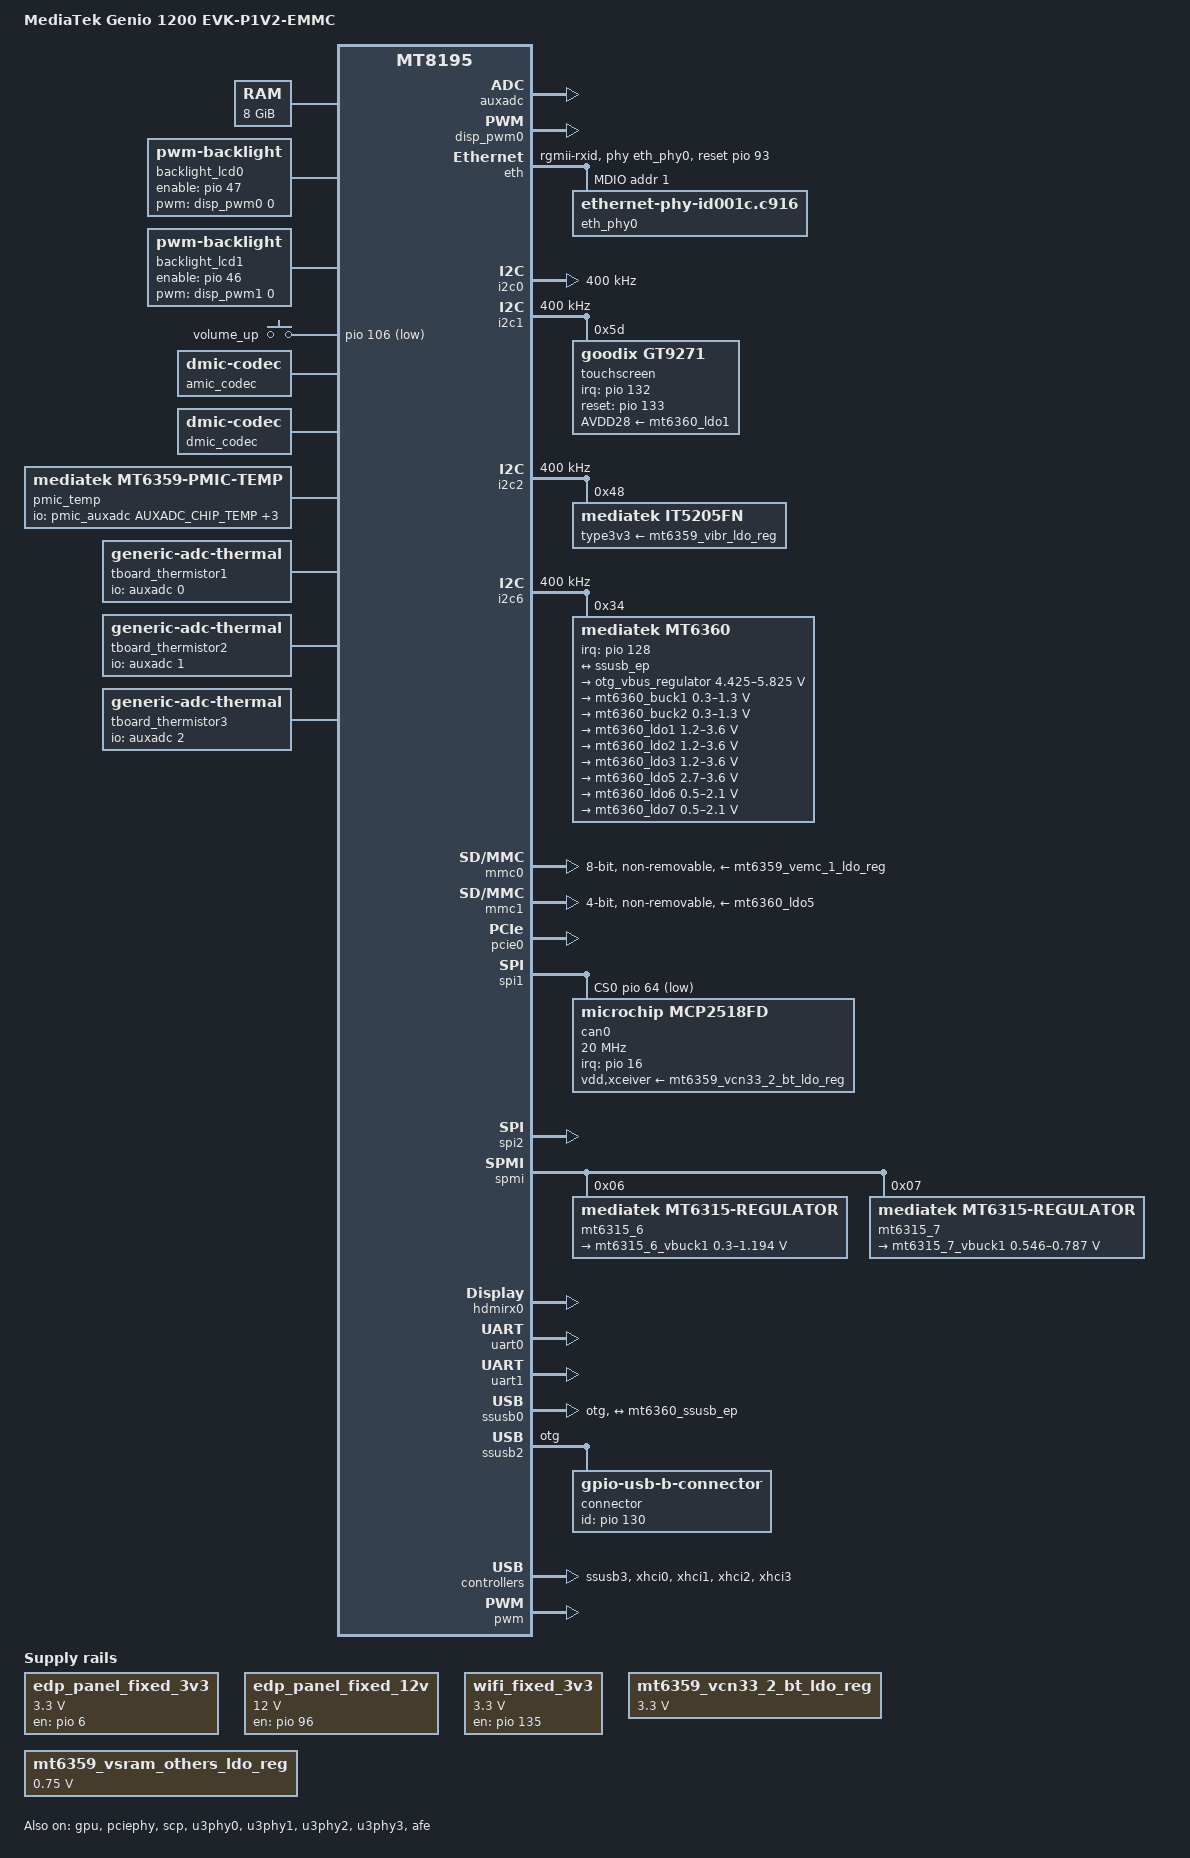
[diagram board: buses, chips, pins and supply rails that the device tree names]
// SPDX-License-Identifier: (GPL-2.0 OR MIT)
/*
 * Copyright (C) 2023 MediaTek Inc.
 * Author: Ben Lok <ben.lok@mediatek.com>
 *	   Macpaul Lin <macpaul.lin@mediatek.com>
 */
/dts-v1/;

#include "mt8195.dtsi"
#include "mt6359.dtsi"
#include <dt-bindings/gpio/gpio.h>
#include <dt-bindings/input/input.h>
#include <dt-bindings/interrupt-controller/irq.h>
#include <dt-bindings/pinctrl/mt8195-pinfunc.h>
#include <dt-bindings/regulator/mediatek,mt6360-regulator.h>
#include <dt-bindings/spmi/spmi.h>
#include <dt-bindings/usb/pd.h>
#include <dt-bindings/iio/mt635x-auxadc.h>

/ {
	model = "MediaTek Genio 1200 EVK-P1V2-EMMC";
	compatible = "mediatek,mt8395-evk", "mediatek,mt8395",
		     "mediatek,mt8195";

	aliases {
		serial0 = &uart0;
		ethernet0 = &eth;
	};

	chosen {
		stdout-path = "serial0:921600n8";
	};

	firmware {
		optee {
			compatible = "linaro,optee-tz";
			method = "smc";
		};
	};

	memory@40000000 {
		device_type = "memory";
		reg = <0 0x40000000 0x2 0x00000000>;
	};

	reserved-memory {
		#address-cells = <2>;
		#size-cells = <2>;
		ranges;

		/*
		 * 12 MiB reserved for OP-TEE (BL32)
		 * +-----------------------+ 0x43e0_0000
		 * |      SHMEM 2MiB       |
		 * +-----------------------+ 0x43c0_0000
		 * |        | TA_RAM  8MiB |
		 * + TZDRAM +--------------+ 0x4340_0000
		 * |        | TEE_RAM 2MiB |
		 * +-----------------------+ 0x4320_0000
		 */
		optee_reserved: optee@43200000 {
			no-map;
			reg = <0 0x43200000 0 0x00c00000>;
		};

		scp_mem: memory@50000000 {
			compatible = "shared-dma-pool";
			reg = <0 0x50000000 0 0x2900000>;
			no-map;
		};

		vpu_mem: memory@53000000 {
			compatible = "shared-dma-pool";
			reg = <0 0x53000000 0 0x1400000>; /* 20 MB */
		};

		/* 2 MiB reserved for ARM Trusted Firmware (BL31) */
		bl31_secmon_reserved: secmon@54600000 {
			no-map;
			reg = <0 0x54600000 0x0 0x200000>;
		};

		/*
		 * 24 MiB reserved for Audio AFE and ADSP
		 * +-----------------------+ 0x6180_0000
		 * |  AFE DMA MEM     8MiB |
		 * +-----------------------+ 0x6100_0000
		 * |  ADSP DMA MEM  2.5MiB |
		 * +-----------------------+ 0x60d8_0000
		 * |  ADSP MEM     13.5MiB |
		 * +-----------------------+ 0x6000_0000
		 */

		adsp_mem_reserved: adsp-mem-region {
			compatible = "shared-dma-pool";
			reg = <0 0x60000000 0 0xd80000>;
			no-map;
		};

		adsp_dma_mem_reserved: adsp-dma-mem-region {
			compatible = "shared-dma-pool";
			reg = <0 0x60d80000 0 0x280000>;
			no-map;
		};

		snd_dma_mem: snd-dma-mem-region {
			compatible = "shared-dma-pool";
			reg = <0 0x61000000 0 0x800000>; /* 8 MB */
			no-map;
		};

		apu_mem: memory@62000000 {
			compatible = "shared-dma-pool";
			reg = <0 0x62000000 0 0x1400000>; /* 20 MB */
		};
	};

	backlight_lcd0: backlight-lcd0 {
		compatible = "pwm-backlight";
		pwms = <&disp_pwm0 0 500000>;
		enable-gpios = <&pio 47 GPIO_ACTIVE_HIGH>;
		brightness-levels = <0 1023>;
		num-interpolated-steps = <1023>;
		default-brightness-level = <576>;
	};

	backlight_lcd1: backlight-lcd1 {
		compatible = "pwm-backlight";
		pwms = <&disp_pwm1 0 500000>;
		enable-gpios = <&pio 46 GPIO_ACTIVE_HIGH>;
		brightness-levels = <0 1023>;
		num-interpolated-steps = <1023>;
		default-brightness-level = <576>;
	};

	can_clk: can-clk {
		compatible = "fixed-clock";
		#clock-cells = <0>;
		clock-frequency = <20000000>;
		clock-output-names = "can-clk";
	};

	edp_panel_fixed_3v3: edp-panel-fixed-3v3 {
		compatible = "regulator-fixed";
		regulator-name = "edp_panel_3v3";
		regulator-min-microvolt = <3300000>;
		regulator-max-microvolt = <3300000>;
		enable-active-high;
		gpio = <&pio 6 GPIO_ACTIVE_HIGH>;
		pinctrl-names = "default";
		pinctrl-0 = <&edp_panel_3v3_en_pins>;
	};

	edp_panel_fixed_12v: edp-panel-fixed-12v {
		compatible = "regulator-fixed";
		regulator-name = "edp_backlight_12v";
		regulator-min-microvolt = <12000000>;
		regulator-max-microvolt = <12000000>;
		enable-active-high;
		gpio = <&pio 96 GPIO_ACTIVE_HIGH>;
		pinctrl-names = "default";
		pinctrl-0 = <&edp_panel_12v_en_pins>;
	};

	keys: gpio-keys {
		compatible = "gpio-keys";

		button-volume-up {
			wakeup-source;
			debounce-interval = <100>;
			gpios = <&pio 106 GPIO_ACTIVE_LOW>;
			label = "volume_up";
			linux,code = <KEY_VOLUMEUP>;
		};
	};

	wifi_fixed_3v3: regulator-2 {
		compatible = "regulator-fixed";
		regulator-name = "wifi_3v3";
		regulator-min-microvolt = <3300000>;
		regulator-max-microvolt = <3300000>;
		gpio = <&pio 135 GPIO_ACTIVE_HIGH>;
		enable-active-high;
		regulator-always-on;
	};

	amic_codec: amic-codec {
		#sound-dai-cells = <0>;
		compatible = "dmic-codec";
		num-channels = <2>;
		wakeup-delay-ms = <200>;
	};

	dmic_codec: dmic-codec {
		#sound-dai-cells = <0>;
		compatible = "dmic-codec";
		num-channels = <2>;
		wakeup-delay-ms = <30>;
	};

	fan0: pwm-fan {
		compatible = "pwm-fan";
		pinctrl-names = "default";
		pinctrl-0 = <&fan0_pins_default>;
		cooling-min-state = <0>;
		cooling-max-state = <2>;
		/* Period 40ns */
		pwms = <&pwm 2 40000>;
		/* Duty Cycle*/
		/* min ---- max */
		/* 20% 50% 100% */
		cooling-levels = <50 127 255>;
		status = "disabled";
	};

	pmic_temp: pmic-temp {
		compatible = "mediatek,mt6359-pmic-temp";
		io-channels =
			<&pmic_auxadc AUXADC_CHIP_TEMP>,
			<&pmic_auxadc AUXADC_VCORE_TEMP>,
			<&pmic_auxadc AUXADC_VPROC_TEMP>,
			<&pmic_auxadc AUXADC_VGPU_TEMP>;
		io-channel-names =
			"pmic_chip_temp",
			"pmic_buck1_temp",
			"pmic_buck2_temp",
			"pmic_buck3_temp";

		#thermal-sensor-cells = <1>;
		nvmem-cells = <&thermal_efuse_data1>;
		nvmem-cell-names = "e_data1";
	};

	tboard_thermistor1: tboard-thermistor1 {
		compatible = "generic-adc-thermal";
		#thermal-sensor-cells = <0>;
		io-channels = <&auxadc 0>;
		io-channel-names = "sensor-channel";
		temperature-lookup-table = <    (-5000) 985
						0 860
						5000 740
						10000 629
						15000 530
						20000 442
						25000 367
						30000 304
						35000 251
						40000 207
						45000 171
						50000 141
						55000 117
						60000 97
						65000 81
						70000 67
						75000 56
						80000 47
						85000 40
						90000 34
						95000 29
						100000 25
						105000 21
						110000 18
						115000 15
						120000 13
						125000 12>;
	};

	tboard_thermistor2: tboard-thermistor2 {
		compatible = "generic-adc-thermal";
		#thermal-sensor-cells = <0>;
		io-channels = <&auxadc 1>;
		io-channel-names = "sensor-channel";
		temperature-lookup-table = <    (-5000) 985
						0 860
						5000 740
						10000 629
						15000 530
						20000 442
						25000 367
						30000 304
						35000 251
						40000 207
						45000 171
						50000 141
						55000 117
						60000 97
						65000 81
						70000 67
						75000 56
						80000 47
						85000 40
						90000 34
						95000 29
						100000 25
						105000 21
						110000 18
						115000 15
						120000 13
						125000 12>;
	};

	tboard_thermistor3: tboard-thermistor3 {
		compatible = "generic-adc-thermal";
		#thermal-sensor-cells = <0>;
		io-channels = <&auxadc 2>;
		io-channel-names = "sensor-channel";
		temperature-lookup-table = <    (-5000) 985
						0 860
						5000 740
						10000 629
						15000 530
						20000 442
						25000 367
						30000 304
						35000 251
						40000 207
						45000 171
						50000 141
						55000 117
						60000 97
						65000 81
						70000 67
						75000 56
						80000 47
						85000 40
						90000 34
						95000 29
						100000 25
						105000 21
						110000 18
						115000 15
						120000 13
						125000 12>;
	};
};

&thermal_zones {
	ap-ntc {
		polling-delay = <1000>; /* milliseconds */
		polling-delay-passive = <0>; /* milliseconds */
		thermal-sensors = <&tboard_thermistor1>;

		trips {
			ap_ntc_crit: ap-ntc-crit {
				temperature = <120000>;
				hysteresis = <2000>;
				type = "critical";
			};
		};
	};

	ap-ntc2 {
		polling-delay = <1000>; /* milliseconds */
		polling-delay-passive = <0>; /* milliseconds */
		thermal-sensors = <&tboard_thermistor2>;

		trips {
			ap_ntc2_crit: ap-ntc2-crit {
				temperature = <120000>;
				hysteresis = <2000>;
				type = "critical";
			};
		};
	};

	ap-ntc3 {
		polling-delay = <1000>; /* milliseconds */
		polling-delay-passive = <0>; /* milliseconds */
		thermal-sensors = <&tboard_thermistor3>;

		trips {
			ap_ntc3_crit: ap-ntc3-crit {
				temperature = <120000>;
				hysteresis = <2000>;
				type = "critical";
			};
		};
	};

	pmic-temp {
		polling-delay = <1000>; /* milliseconds */
		polling-delay-passive = <1000>; /* milliseconds */
		thermal-sensors = <&pmic_temp 0>;
		trips {
			pmic_temp_crit: pmic-temp-crit@0 {
				temperature = <125000>;
				hysteresis = <2000>;
				type = "critical";
			};
		};
	};

	pmic-vcore {
		polling-delay = <0>; /* milliseconds */
		polling-delay-passive = <0>; /* milliseconds */
		thermal-sensors = <&pmic_temp 1>;
		trips {
			pmic_vcore_crit: pmic-vcore-crit {
				temperature = <130000>;
				hysteresis = <2000>;
				type = "critical";
			};
		};
	};

	pmic-vproc {
		polling-delay = <0>; /* milliseconds */
		polling-delay-passive = <0>; /* milliseconds */
		thermal-sensors = <&pmic_temp 2>;
		trips {
			pmic_vproc_crit: pmic-vproc-crit {
				temperature = <130000>;
				hysteresis = <2000>;
				type = "critical";
			};
		};
	};

	pmic-vgpu {
		polling-delay = <0>; /* milliseconds */
		polling-delay-passive = <0>; /* milliseconds */
		thermal-sensors = <&pmic_temp 3>;
		trips {
			pmic_vgpu_crit: pmic-vgpu-crit {
				temperature = <130000>;
				hysteresis = <2000>;
				type = "critical";
			};
		};
	};
};

&auxadc {
	status = "okay";
};

&mipi_tx0 {
	status = "disabled";
};

&dsi0 {
	status = "disabled";
	#address-cells = <1>;
	#size-cells = <0>;
	poweron-in-hs-mode = <0>;
	panel@0 {
		compatible = "startek,kd070fhfid078";
		status = "disabled";
		reg = <0>;
		pinctrl-names = "default";
		pinctrl-0 = <&panel_pins_default>;
		backlight = <&backlight_lcd0>;
		reset-gpios = <&pio 108 GPIO_ACTIVE_HIGH>;
		enable-gpios = <&pio 48 GPIO_ACTIVE_HIGH>;
		iovcc-supply = <&mt6360_ldo2>;
		pp3300-supply = <&mt6360_ldo1>;
		port {
			dsi_panel_in: endpoint {
				remote-endpoint = <&dsi_out>;
			};
		};
	};

	ports {
		port {
			dsi_out: endpoint {
				remote-endpoint = <&dsi_panel_in>;
			};
		};
	};
};

&disp_pwm0 {
	pinctrl-names = "default";
	pinctrl-0 = <&pwm0_default_pins>;
	status = "okay";
};

&eth {
	phy-mode ="rgmii-rxid";
	phy-handle = <&eth_phy0>;
	snps,reset-gpio = <&pio 93 GPIO_ACTIVE_HIGH>;
	snps,reset-delays-us = <0 10000 10000>;
	mediatek,tx-delay-ps = <2030>;
	mediatek,mac-wol;
	pinctrl-names = "default", "sleep";
	pinctrl-0 = <&eth_default_pins>;
	pinctrl-1 = <&eth_sleep_pins>;
	status = "okay";

	mdio {
		compatible = "snps,dwmac-mdio";
		#address-cells = <1>;
		#size-cells = <0>;
		eth_phy0: ethernet-phy@1 {
			compatible = "ethernet-phy-id001c.c916";
			reg = <0x1>;
		};
	};
};

&gpu {
	mali-supply = <&mt6315_7_vbuck1>;
	status = "okay";
};

&i2c0 {
	clock-frequency = <400000>;
	pinctrl-0 = <&i2c0_pins>;
	pinctrl-names = "default";
	status = "okay";
};

&i2c1 {
	clock-frequency = <400000>;
	pinctrl-0 = <&i2c1_pins>;
	pinctrl-names = "default";
	status = "okay";

	touchscreen@5d {
		compatible = "goodix,gt9271";
		reg = <0x5d>;
		interrupt-parent = <&pio>;
		interrupts = <132 IRQ_TYPE_EDGE_RISING>;
		irq-gpios = <&pio 132 GPIO_ACTIVE_HIGH>;
		reset-gpios = <&pio 133 GPIO_ACTIVE_HIGH>;
		AVDD28-supply = <&mt6360_ldo1>;
		pinctrl-names = "default";
		pinctrl-0 = <&touch_pins>;
	};
};

&i2c2 {
	clock-frequency = <400000>;
	pinctrl-0 = <&i2c2_pins>;
	pinctrl-names = "default";
	status = "okay";

	it5205fn: it5205fn@48 {
		compatible = "mediatek,it5205fn";
		reg = <0x48>;
		type3v3-supply = <&mt6359_vibr_ldo_reg>;
		svid = /bits/ 16 <0xff01>;
		status = "okay";
	};
};

&i2c6 {
	clock-frequency = <400000>;
	pinctrl-0 = <&i2c6_pins>;
	pinctrl-names = "default";
	#address-cells = <1>;
	#size-cells = <0>;
	status = "okay";

	mt6360: pmic@34 {
		compatible = "mediatek,mt6360";
		reg = <0x34>;
		interrupt-parent = <&pio>;
		interrupts = <128 IRQ_TYPE_EDGE_FALLING>;
		interrupt-names = "IRQB";
		interrupt-controller;
		#interrupt-cells = <1>;
		pinctrl-0 = <&mt6360_pins>;

		tcpc {
			compatible = "mediatek,mt6360-tcpc";
			interrupts-extended = <&pio 17 IRQ_TYPE_LEVEL_LOW>;
			interrupt-names = "PD_IRQB";
			tcpc-vbus-supply = <&otg_vbus_regulator>;

			connector {
				compatible = "usb-c-connector";
				label = "USB-C";
				data-role = "dual";
				power-role = "dual";
				try-power-role = "sink";
				source-pdos = <PDO_FIXED(5000, 1000, PDO_FIXED_DUAL_ROLE | PDO_FIXED_DATA_SWAP)>;
				sink-pdos = <PDO_FIXED(5000, 2000, PDO_FIXED_DUAL_ROLE | PDO_FIXED_DATA_SWAP)>;
				op-sink-microwatt = <10000000>;
				orientation-switch = <&it5205fn>;
				mode-switch = <&it5205fn>;
				port {};
			};

			ports {
				#address-cells = <1>;
				#size-cells = <0>;

				port@0 {
					reg = <0>;
					mt6360_ssusb_ep: endpoint {
						remote-endpoint = <&ssusb_ep>;
					};
				};

			};
		};

		charger {
			compatible = "mediatek,mt6360-chg";
			richtek,vinovp-microvolt = <14500000>;

			otg_vbus_regulator: usb-otg-vbus-regulator {
				regulator-compatible = "usb-otg-vbus";
				regulator-name = "usb-otg-vbus";
				regulator-min-microvolt = <4425000>;
				regulator-max-microvolt = <5825000>;
			};
		};

		adc {
			compatible = "mediatek,mt6360-adc";
			#io-channel-cells = <1>;
		};

		led {
			compatible = "mediatek,mt6360-led";
		};

		regulator {
			compatible = "mediatek,mt6360-regulator";
			LDO_VIN3-supply = <&mt6360_buck2>;

			mt6360_buck1: buck1 {
				regulator-name = "mt6360,buck1";
				regulator-min-microvolt = <300000>;
				regulator-max-microvolt = <1300000>;
				regulator-allowed-modes = <MT6360_OPMODE_NORMAL
							   MT6360_OPMODE_LP
							   MT6360_OPMODE_ULP>;
				regulator-always-on;
			};

			mt6360_buck2: buck2 {
				regulator-name = "mt6360,buck2";
				regulator-min-microvolt = <300000>;
				regulator-max-microvolt = <1300000>;
				regulator-allowed-modes = <MT6360_OPMODE_NORMAL
							   MT6360_OPMODE_LP
							   MT6360_OPMODE_ULP>;
				regulator-always-on;
			};

			mt6360_ldo1: ldo1 {
				regulator-name = "mt6360,ldo1";
				regulator-min-microvolt = <1200000>;
				regulator-max-microvolt = <3600000>;
				regulator-allowed-modes = <MT6360_OPMODE_NORMAL
							   MT6360_OPMODE_LP>;
				regulator-always-on;
			};

			mt6360_ldo2: ldo2 {
				regulator-name = "mt6360,ldo2";
				regulator-min-microvolt = <1200000>;
				regulator-max-microvolt = <3600000>;
				regulator-allowed-modes = <MT6360_OPMODE_NORMAL
							   MT6360_OPMODE_LP>;
			};

			mt6360_ldo3: ldo3 {
				regulator-name = "mt6360,ldo3";
				regulator-min-microvolt = <1200000>;
				regulator-max-microvolt = <3600000>;
				regulator-allowed-modes = <MT6360_OPMODE_NORMAL
							   MT6360_OPMODE_LP>;
			};

			mt6360_ldo5: ldo5 {
				regulator-name = "mt6360,ldo5";
				regulator-min-microvolt = <2700000>;
				regulator-max-microvolt = <3600000>;
				regulator-allowed-modes = <MT6360_OPMODE_NORMAL
							   MT6360_OPMODE_LP>;
			};

			/* This is a measure point, which name is mt6360_ldo1 on schematic */
			mt6360_ldo6: ldo6 {
				regulator-name = "mt6360,ldo6";
				regulator-min-microvolt = <500000>;
				regulator-max-microvolt = <2100000>;
				regulator-allowed-modes = <MT6360_OPMODE_NORMAL
							   MT6360_OPMODE_LP>;
			};

			mt6360_ldo7: ldo7 {
				regulator-name = "mt6360,ldo7";
				regulator-min-microvolt = <500000>;
				regulator-max-microvolt = <2100000>;
				regulator-allowed-modes = <MT6360_OPMODE_NORMAL
							   MT6360_OPMODE_LP>;
				regulator-always-on;
			};
		};
	};
};

&mfg0 {
	domain-supply = <&mt6315_7_vbuck1>;
};

&mmc0 {
	status = "okay";
	pinctrl-names = "default", "state_uhs";
	pinctrl-0 = <&mmc0_default_pins>;
	pinctrl-1 = <&mmc0_uhs_pins>;
	bus-width = <8>;
	max-frequency = <200000000>;
	cap-mmc-highspeed;
	mmc-hs200-1_8v;
	mmc-hs400-1_8v;
	cap-mmc-hw-reset;
	no-sdio;
	no-sd;
	hs400-ds-delay = <0x14c11>;
	vmmc-supply = <&mt6359_vemc_1_ldo_reg>;
	vqmmc-supply = <&mt6359_vufs_ldo_reg>;
	non-removable;
};

&mmc1 {
	pinctrl-names = "default", "state_uhs";
	pinctrl-0 = <&mmc1_default_pins>;
	pinctrl-1 = <&mmc1_uhs_pins>;
	bus-width = <4>;
	max-frequency = <200000000>;
	cap-sd-highspeed;
	sd-uhs-sdr50;
	sd-uhs-sdr104;
	no-mmc;
	no-sdio;
	vmmc-supply = <&mt6360_ldo5>;
	vqmmc-supply = <&mt6360_ldo3>;
	status = "okay";
	non-removable;
};

&mt6359_vaud18_ldo_reg {
	regulator-always-on;
};

&mt6359_vbbck_ldo_reg {
	regulator-always-on;
};

/* For USB Hub */
&mt6359_vcamio_ldo_reg {
	regulator-always-on;
};

&mt6359_vcn33_2_bt_ldo_reg {
	regulator-min-microvolt = <3300000>;
	regulator-max-microvolt = <3300000>;
};

&mt6359_vcore_buck_reg {
	regulator-always-on;
};

&mt6359_vgpu11_buck_reg {
	regulator-always-on;
};

&mt6359_vpu_buck_reg {
	regulator-always-on;
};

&mt6359_vrf12_ldo_reg {
	regulator-always-on;
};

/* for GPU SRAM */
&mt6359_vsram_others_ldo_reg {
	regulator-always-on;
	regulator-min-microvolt = <750000>;
	regulator-max-microvolt = <750000>;
};

&mt6359codec {
	mediatek,mic-type-0 = <1>; /* ACC */
	mediatek,mic-type-1 = <3>; /* DCC */
	mediatek,mic-type-2 = <1>; /* ACC */
};

&pcie0 {
	pinctrl-names = "default", "idle";
	pinctrl-0 = <&pcie0_default_pins>;
	pinctrl-1 = <&pcie0_idle_pins>;
	status = "okay";
};

&pcie1 {
	pinctrl-names = "default";
	pinctrl-0 = <&pcie1_default_pins>;
	status = "disabled";
};

&pciephy {
	status = "okay";
};

&pio {
	u3_p0_vbus: u3-p0-vbus-default-pins {
		pins-cmd-dat {
			pinmux = <PINMUX_GPIO63__FUNC_VBUSVALID>;
			input-enable;
		};
	};

	u2_default: u2default {
		pin-id {
			pinmux = <PINMUX_GPIO130__FUNC_IDDIG_1P>;
			input-enable;
			bias-pull-up;
		};

		pin-usb-vbus {
			pinmux = <PINMUX_GPIO131__FUNC_USB_DRVVBUS_1P>;
			output-low;
		};
	};

	audio_default_pins: audio-default-pins {
		pins-cmd-dat {
			pinmux = <PINMUX_GPIO61__FUNC_DMIC1_CLK>,
				 <PINMUX_GPIO62__FUNC_DMIC1_DAT>,
				 <PINMUX_GPIO65__FUNC_PCM_DO>,
				 <PINMUX_GPIO66__FUNC_PCM_CLK>,
				 <PINMUX_GPIO67__FUNC_PCM_DI>,
				 <PINMUX_GPIO68__FUNC_PCM_SYNC>,
				 <PINMUX_GPIO69__FUNC_AUD_CLK_MOSI>,
				 <PINMUX_GPIO70__FUNC_AUD_SYNC_MOSI>,
				 <PINMUX_GPIO71__FUNC_AUD_DAT_MOSI0>,
				 <PINMUX_GPIO72__FUNC_AUD_DAT_MOSI1>,
				 <PINMUX_GPIO73__FUNC_AUD_DAT_MISO0>,
				 <PINMUX_GPIO74__FUNC_AUD_DAT_MISO1>,
				 <PINMUX_GPIO75__FUNC_AUD_DAT_MISO2>;
		};
	};

	disp_pwm1_default_pins: disp-pwm1-default-pins {
		pins1 {
			pinmux = <PINMUX_GPIO104__FUNC_DISP_PWM1>;
		};
	};

	edp_panel_12v_en_pins: edp-panel-12v-en-pins {
		pins1 {
			pinmux = <PINMUX_GPIO96__FUNC_GPIO96>;
			output-high;
		};
	};

	edp_panel_3v3_en_pins: edp-panel-3v3-en-pins {
		pins1 {
			pinmux = <PINMUX_GPIO6__FUNC_GPIO6>;
			output-high;
		};
	};

	eth_default_pins: eth-default-pins {
		pins-cc {
			pinmux = <PINMUX_GPIO85__FUNC_GBE_TXC>,
				 <PINMUX_GPIO86__FUNC_GBE_RXC>,
				 <PINMUX_GPIO87__FUNC_GBE_RXDV>,
				 <PINMUX_GPIO88__FUNC_GBE_TXEN>;
			drive-strength = <MTK_DRIVE_8mA>;
		};

		pins-mdio {
			pinmux = <PINMUX_GPIO89__FUNC_GBE_MDC>,
				 <PINMUX_GPIO90__FUNC_GBE_MDIO>;
			input-enable;
		};

		pins-power {
			pinmux = <PINMUX_GPIO91__FUNC_GPIO91>,
				 <PINMUX_GPIO92__FUNC_GPIO92>;
			output-high;
		};

		pins-rxd {
			pinmux = <PINMUX_GPIO81__FUNC_GBE_RXD3>,
				 <PINMUX_GPIO82__FUNC_GBE_RXD2>,
				 <PINMUX_GPIO83__FUNC_GBE_RXD1>,
				 <PINMUX_GPIO84__FUNC_GBE_RXD0>;
		};

		pins-txd {
			pinmux = <PINMUX_GPIO77__FUNC_GBE_TXD3>,
				 <PINMUX_GPIO78__FUNC_GBE_TXD2>,
				 <PINMUX_GPIO79__FUNC_GBE_TXD1>,
				 <PINMUX_GPIO80__FUNC_GBE_TXD0>;
			drive-strength = <MTK_DRIVE_8mA>;
		};
	};

	eth_sleep_pins: eth-sleep-pins {
		pins-cc {
			pinmux = <PINMUX_GPIO85__FUNC_GPIO85>,
				 <PINMUX_GPIO86__FUNC_GPIO86>,
				 <PINMUX_GPIO87__FUNC_GPIO87>,
				 <PINMUX_GPIO88__FUNC_GPIO88>;
		};

		pins-mdio {
			pinmux = <PINMUX_GPIO89__FUNC_GPIO89>,
				 <PINMUX_GPIO90__FUNC_GPIO90>;
			input-disable;
			bias-disable;
		};

		pins-rxd {
			pinmux = <PINMUX_GPIO81__FUNC_GPIO81>,
				 <PINMUX_GPIO82__FUNC_GPIO82>,
				 <PINMUX_GPIO83__FUNC_GPIO83>,
				 <PINMUX_GPIO84__FUNC_GPIO84>;
		};

		pins-txd {
			pinmux = <PINMUX_GPIO77__FUNC_GPIO77>,
				 <PINMUX_GPIO78__FUNC_GPIO78>,
				 <PINMUX_GPIO79__FUNC_GPIO79>,
				 <PINMUX_GPIO80__FUNC_GPIO80>;
		};
	};

	gpio_key_pins: gpio-keys-pins {
		pins {
			pinmux = <PINMUX_GPIO106__FUNC_GPIO106>;
			bias-pull-up;
			input-enable;
		};
	};

	i2c0_pins: i2c0-pins {
		pins {
			pinmux = <PINMUX_GPIO8__FUNC_SDA0>,
				 <PINMUX_GPIO9__FUNC_SCL0>;
			bias-pull-up = <MTK_PULL_SET_RSEL_111>;
			drive-strength-microamp = <1000>;
		};
	};

	i2c1_pins: i2c1-pins {
		pins {
			pinmux = <PINMUX_GPIO10__FUNC_SDA1>,
				 <PINMUX_GPIO11__FUNC_SCL1>;
			bias-pull-up = <MTK_PULL_SET_RSEL_111>;
			drive-strength-microamp = <1000>;
		};
	};

	i2c2_pins: i2c2-pins {
		pins {
			pinmux = <PINMUX_GPIO12__FUNC_SDA2>,
				 <PINMUX_GPIO13__FUNC_SCL2>;
			bias-pull-up = <MTK_PULL_SET_RSEL_111>;
			mediatek,drive-strength-adv = <0>;
			drive-strength = <MTK_DRIVE_6mA>;
		};
	};

	i2c6_pins: i2c6-pins {
		pins {
			pinmux = <PINMUX_GPIO25__FUNC_SDA6>,
				 <PINMUX_GPIO26__FUNC_SCL6>;
			bias-pull-up;
		};
	};

	mmc0_default_pins: mmc0-default-pins {
		pins-clk {
			pinmux = <PINMUX_GPIO122__FUNC_MSDC0_CLK>;
			drive-strength = <MTK_DRIVE_6mA>;
			bias-pull-down = <MTK_PUPD_SET_R1R0_10>;
		};

		pins-cmd-dat {
			pinmux = <PINMUX_GPIO126__FUNC_MSDC0_DAT0>,
				 <PINMUX_GPIO125__FUNC_MSDC0_DAT1>,
				 <PINMUX_GPIO124__FUNC_MSDC0_DAT2>,
				 <PINMUX_GPIO123__FUNC_MSDC0_DAT3>,
				 <PINMUX_GPIO119__FUNC_MSDC0_DAT4>,
				 <PINMUX_GPIO118__FUNC_MSDC0_DAT5>,
				 <PINMUX_GPIO117__FUNC_MSDC0_DAT6>,
				 <PINMUX_GPIO116__FUNC_MSDC0_DAT7>,
				 <PINMUX_GPIO121__FUNC_MSDC0_CMD>;
			input-enable;
			drive-strength = <MTK_DRIVE_6mA>;
			bias-pull-up = <MTK_PUPD_SET_R1R0_01>;
		};

		pins-rst {
			pinmux = <PINMUX_GPIO120__FUNC_MSDC0_RSTB>;
			drive-strength = <MTK_DRIVE_6mA>;
			bias-pull-up = <MTK_PUPD_SET_R1R0_01>;
		};
	};

	mmc0_uhs_pins: mmc0-uhs-pins {
		pins-clk {
			pinmux = <PINMUX_GPIO122__FUNC_MSDC0_CLK>;
			drive-strength = <MTK_DRIVE_8mA>;
			bias-pull-down = <MTK_PUPD_SET_R1R0_10>;
		};

		pins-cmd-dat {
			pinmux = <PINMUX_GPIO126__FUNC_MSDC0_DAT0>,
				 <PINMUX_GPIO125__FUNC_MSDC0_DAT1>,
				 <PINMUX_GPIO124__FUNC_MSDC0_DAT2>,
				 <PINMUX_GPIO123__FUNC_MSDC0_DAT3>,
				 <PINMUX_GPIO119__FUNC_MSDC0_DAT4>,
				 <PINMUX_GPIO118__FUNC_MSDC0_DAT5>,
				 <PINMUX_GPIO117__FUNC_MSDC0_DAT6>,
				 <PINMUX_GPIO116__FUNC_MSDC0_DAT7>,
				 <PINMUX_GPIO121__FUNC_MSDC0_CMD>;
			input-enable;
			drive-strength = <MTK_DRIVE_8mA>;
			bias-pull-up = <MTK_PUPD_SET_R1R0_01>;
		};

		pins-ds {
			pinmux = <PINMUX_GPIO127__FUNC_MSDC0_DSL>;
			drive-strength = <MTK_DRIVE_8mA>;
			bias-pull-down = <MTK_PUPD_SET_R1R0_10>;
		};

		pins-rst {
			pinmux = <PINMUX_GPIO120__FUNC_MSDC0_RSTB>;
			drive-strength = <MTK_DRIVE_8mA>;
			bias-pull-up = <MTK_PUPD_SET_R1R0_01>;
		};
	};

	mmc1_default_pins: mmc1-default-pins {
		pins-clk {
			pinmux = <PINMUX_GPIO111__FUNC_MSDC1_CLK>;
			drive-strength = <MTK_DRIVE_8mA>;
			bias-pull-down = <MTK_PUPD_SET_R1R0_10>;
		};

		pins-cmd-dat {
			pinmux = <PINMUX_GPIO110__FUNC_MSDC1_CMD>,
				 <PINMUX_GPIO112__FUNC_MSDC1_DAT0>,
				 <PINMUX_GPIO113__FUNC_MSDC1_DAT1>,
				 <PINMUX_GPIO114__FUNC_MSDC1_DAT2>,
				 <PINMUX_GPIO115__FUNC_MSDC1_DAT3>;
			input-enable;
			drive-strength = <MTK_DRIVE_8mA>;
			bias-pull-up = <MTK_PUPD_SET_R1R0_01>;
		};
	};

	mmc1_uhs_pins: mmc1-uhs-pins {
		pins-clk {
			pinmux = <PINMUX_GPIO111__FUNC_MSDC1_CLK>;
			drive-strength = <MTK_DRIVE_8mA>;
			bias-pull-down = <MTK_PUPD_SET_R1R0_10>;
		};

		pins-cmd-dat {
			pinmux = <PINMUX_GPIO110__FUNC_MSDC1_CMD>,
				 <PINMUX_GPIO112__FUNC_MSDC1_DAT0>,
				 <PINMUX_GPIO113__FUNC_MSDC1_DAT1>,
				 <PINMUX_GPIO114__FUNC_MSDC1_DAT2>,
				 <PINMUX_GPIO115__FUNC_MSDC1_DAT3>;
			input-enable;
			drive-strength = <MTK_DRIVE_8mA>;
			bias-pull-up = <MTK_PUPD_SET_R1R0_01>;
		};
	};

	mt6360_pins: mt6360-pins {
		pins {
			pinmux = <PINMUX_GPIO17__FUNC_GPIO17>,
				 <PINMUX_GPIO128__FUNC_GPIO128>;
			input-enable;
			bias-pull-up;
		};
	};

	pcie0_default_pins: pcie0-default-pins {
		pins {
			pinmux = <PINMUX_GPIO19__FUNC_WAKEN>,
				 <PINMUX_GPIO20__FUNC_PERSTN>,
				 <PINMUX_GPIO21__FUNC_CLKREQN>;
			bias-pull-up;
		};
	};

	pcie0_idle_pins: pcie0-idle-pins {
		pins {
			pinmux = <PINMUX_GPIO20__FUNC_GPIO20>;
			bias-disable;
			output-low;
		};
	};

	pcie1_default_pins: pcie1-default-pins {
		pins {
			pinmux = <PINMUX_GPIO22__FUNC_PERSTN_1>,
				 <PINMUX_GPIO23__FUNC_CLKREQN_1>,
				 <PINMUX_GPIO24__FUNC_WAKEN_1>;
			bias-pull-up;
		};
	};

	panel_pins_default: panel-pins-default {
		panel-dcdc {
			pinmux = <PINMUX_GPIO48__FUNC_GPIO48>;
			output-low;
		};

		panel-en {
			pinmux = <PINMUX_GPIO47__FUNC_GPIO47>;
			output-low;
		};

		panel-rst {
			pinmux = <PINMUX_GPIO108__FUNC_GPIO108>;
			output-high;
		};
	};

	pwm0_default_pins: pwm0-default-pins {
		pins-cmd-dat {
			pinmux = <PINMUX_GPIO97__FUNC_DISP_PWM0>;
		};
	};

	spi1_pins: spi1-pins {
		pins {
			pinmux = <PINMUX_GPIO136__FUNC_SPIM1_CSB>,
				 <PINMUX_GPIO137__FUNC_SPIM1_CLK>,
				 <PINMUX_GPIO138__FUNC_SPIM1_MO>,
				 <PINMUX_GPIO139__FUNC_SPIM1_MI>;
			bias-disable;
		};
	};

	spi2_pins: spi-pins {
		pins {
			pinmux = <PINMUX_GPIO140__FUNC_SPIM2_CSB>,
				 <PINMUX_GPIO141__FUNC_SPIM2_CLK>,
				 <PINMUX_GPIO142__FUNC_SPIM2_MO>,
				 <PINMUX_GPIO143__FUNC_SPIM2_MI>;
			bias-disable;
		};
	};

	hdmi0_pins_default: hdmi0default {
		hdmirxhpd {
			pinmux = <PINMUX_GPIO27__FUNC_HDMIRX20_HTPLG>;
		};
		hdmirx5v {
			pinmux = <PINMUX_GPIO28__FUNC_HDMIRX20_PWR5V>;
			bias-disable;
		};
		hdmirxscl {
			pinmux = <PINMUX_GPIO29__FUNC_HDMIRX20_SCL>;
		};
		hdmirxsda {
			pinmux = <PINMUX_GPIO30__FUNC_HDMIRX20_SDA>;
			drive-strength = <MTK_DRIVE_10mA>;
		};
	};

	pwm_pins: pwm-pins {
		pins {
			pinmux = <PINMUX_GPIO105__FUNC_PWM_2>;
		};
	};

	fan0_pins_default: fan0-pins-default {
		pins-cmd-dat {
			pinmux = <PINMUX_GPIO129__FUNC_GPIO129>;
			output-high;
		};
	};

	touch_pins: touch-pins {
		pins-irq {
			pinmux = <PINMUX_GPIO132__FUNC_GPIO132>;
			input-enable;
			bias-disable;
		};

		pins-reset {
			pinmux = <PINMUX_GPIO133__FUNC_GPIO133>;
			output-high;
		};
	};

	uart0_pins: uart0-pins {
		pins {
			pinmux = <PINMUX_GPIO98__FUNC_UTXD0>,
				 <PINMUX_GPIO99__FUNC_URXD0>;
		};
	};

	uart1_pins: uart1-pins {
		pins {
			pinmux = <PINMUX_GPIO100__FUNC_URTS1>,
				 <PINMUX_GPIO101__FUNC_UCTS1>,
				 <PINMUX_GPIO102__FUNC_UTXD1>,
				 <PINMUX_GPIO103__FUNC_URXD1>;
		};
	};
};

&ufshci {
	status = "disabled";
	vcc-supply = <&mt6359_vemc_1_ldo_reg>;
	vccq2-supply = <&mt6359_vufs_ldo_reg>;
};

&ufsphy {
	status = "disabled";
};

&pmic {
	interrupt-parent = <&pio>;
	interrupts = <222 IRQ_TYPE_LEVEL_HIGH>;
};

&scp {
	memory-region = <&scp_mem>;
	status = "okay";
	firmware-name = "mediatek/mt8195/scp.img";
};

&spi1 {
	pinctrl-0 = <&spi1_pins>;
	pinctrl-names = "default";
	mediatek,pad-select = <0>;
	#address-cells = <1>;
	#size-cells = <0>;
	status = "okay";
	cs-gpios = <&pio 64 GPIO_ACTIVE_LOW>;

	can0: can@0 {
		compatible = "microchip,mcp2518fd";
		reg = <0>;
		clocks = <&can_clk>;
		spi-max-frequency = <20000000>;
		interrupts-extended = <&pio 16 IRQ_TYPE_LEVEL_LOW>;
		vdd-supply = <&mt6359_vcn33_2_bt_ldo_reg>;
		xceiver-supply = <&mt6359_vcn33_2_bt_ldo_reg>;
	};
};

&spi2 {
	pinctrl-0 = <&spi2_pins>;
	pinctrl-names = "default";
	mediatek,pad-select = <0>;
	#address-cells = <1>;
	#size-cells = <0>;
	status = "okay";
};

&spmi {
	#address-cells = <2>;
	#size-cells = <0>;

	mt6315_6: pmic@6 {
		compatible = "mediatek,mt6315-regulator";
		reg = <0x6 SPMI_USID>;

		regulators {
			mt6315_6_vbuck1: vbuck1 {
				regulator-compatible = "vbuck1";
				regulator-name = "Vbcpu";
				regulator-min-microvolt = <300000>;
				regulator-max-microvolt = <1193750>;
				regulator-enable-ramp-delay = <256>;
				regulator-allowed-modes = <0 1 2>;
				regulator-always-on;
			};
		};
	};

	mt6315_7: pmic@7 {
		compatible = "mediatek,mt6315-regulator";
		reg = <0x7 SPMI_USID>;

		regulators {
			mt6315_7_vbuck1: vbuck1 {
				regulator-compatible = "vbuck1";
				regulator-name = "Vgpu";
				regulator-min-microvolt = <546000>;
				regulator-max-microvolt = <787000>;
				regulator-enable-ramp-delay = <256>;
				regulator-allowed-modes = <0 1 2>;
			};
		};
	};
};

&u3phy0 {
	status = "okay";
};

&u3phy1 {
	status = "okay";
};

&u3phy2 {
	status = "okay";
};

&u3phy3 {
	status = "okay";
};

&hdmirx0 {
	pinctrl-names = "default";
	pinctrl-0 = <&hdmi0_pins_default>;
	hdmi33v-supply = <&mt6359_vcn33_1_wifi_ldo_reg>;
	hdmi08v-supply = <&mt6359_va09_ldo_reg>;
	status = "okay";
};

&uart0 {
	pinctrl-0 = <&uart0_pins>;
	pinctrl-names = "default";
	status = "okay";
};

&uart1 {
	pinctrl-0 = <&uart1_pins>;
	pinctrl-names = "default";
	status = "okay";
};

&ssusb0 {
	pinctrl-names = "default";
	pinctrl-0 = <&u3_p0_vbus>;
	vusb33-supply = <&mt6359_vusb_ldo_reg>;
	dr_mode = "otg";
	mediatek,usb3-drd;
	usb-role-switch;
	/delete-property/ wakeup-source;
	status = "okay";

	port {
		ssusb_ep: endpoint {
			remote-endpoint = <&mt6360_ssusb_ep>;
		};
	};

};

&ssusb2 {
	pinctrl-names = "default";
	pinctrl-0 = <&u2_default>;
	maximum-speed = "high-speed";
	vusb33-supply = <&mt6359_vusb_ldo_reg>;
	mediatek,force-vbus;
	usb-role-switch;
	dr_mode = "otg"; /* host, peripheral, otg */
	/delete-property/ wakeup-source;
	status = "okay";

	connector {
		compatible = "gpio-usb-b-connector", "usb-b-connector";
		type = "micro";
		id-gpios = <&pio 130 GPIO_ACTIVE_HIGH>;
	};
};

&ssusb3 {
	vusb33-supply = <&mt6359_vusb_ldo_reg>;
	status = "okay";
};

&watchdog {
	/delete-property/ mediatek,disable-extrst;
};

&xhci0 {
	status = "okay";
};

&xhci1 {
	vusb33-supply = <&mt6359_vusb_ldo_reg>;
	status = "okay";
};

&xhci2 {
	status = "okay";
};

&xhci3 {
	status = "okay";
};

&accdet {
	mediatek,eint-level-pol = <IRQ_TYPE_LEVEL_HIGH>;
};

&afe {
	memory-region = <&snd_dma_mem>;
	mediatek,dmic-iir-on;
	status = "okay";
};

&adsp {
	memory-region = <&adsp_dma_mem_reserved>,
			<&adsp_mem_reserved>;
};

&sound {
	compatible = "mediatek,mt8195_mt6359";
	model = "mt8395-evk";
	pinctrl-names = "default";
	pinctrl-0 = <&audio_default_pins>;
	status = "okay";

	dai-link-0 {
		sound-dai = <&afe>;
		link-name = "DL_SRC_BE";

		codec {
			sound-dai = <&pmic 0>, <&accdet>;
		};
	};

	dai-link-1 {
		sound-dai = <&afe>;
		link-name = "UL_SRC1_BE";

		codec {
			sound-dai = <&pmic 0>, <&amic_codec>;
		};
	};

	dai-link-2 {
		sound-dai = <&afe>;
		link-name = "UL_SRC2_BE";

		codec {
			sound-dai = <&pmic 1>;
		};
	};

	dai-link-3 {
		sound-dai = <&afe>;
		link-name = "DMIC_BE";

		codec {
			sound-dai = <&dmic_codec>;
		};
	};
};

&pwm {
	pinctrl-0 = <&pwm_pins>;
	pinctrl-names = "default";
	status = "okay";
};
